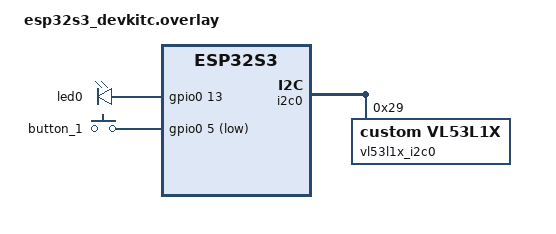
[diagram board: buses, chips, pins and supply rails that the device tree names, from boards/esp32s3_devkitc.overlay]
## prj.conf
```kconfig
CONFIG_I2C=y
CONFIG_I2C_ESP32=y
CONFIG_I2C_INIT_PRIORITY=50
CONFIG_GPIO=y
CONFIG_CUSTOM_VL53L1X=y
# CONFIG_CUSTOM_VL53L1X_INTERRUPT_MODE is not set
# CONFIG_CUSTOM_VL53L1X_XSHUT is not set
CONFIG_LOG=y
CONFIG_LOG_DEFAULT_LEVEL=3
```

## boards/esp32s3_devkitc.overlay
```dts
/ {
    aliases {
        my-led = &led0;
        distance-sensor = &vl53l1x_i2c0;
        trigger-button = &button_1;
    };

    leds {
        compatible = "gpio-leds";
        led0: d13 {
            gpios = <&gpio0 13 GPIO_ACTIVE_HIGH>;
        };
    };
    buttons {
        compatible = "gpio-keys";
        
        button_1: d5 {
            gpios = <&gpio0 5 (GPIO_ACTIVE_LOW | GPIO_PULL_UP)>;
        };
    };
};

&pinctrl {
    i2c0_custom_pins: i2c0_custom_pins {
        group1 {
            pinmux = <I2C0_SDA_GPIO15>, <I2C0_SCL_GPIO16>;	// SDA on GPIO15, SCL on GPIO16
            bias-pull-up; 									// Enable pull-up resistors for both pins
            drive-open-drain; 								// Required for I2C
            output-high; 									// Start with lines high (inactive state)
        };
    };
};

&i2c0 {
    pinctrl-0 = <&i2c0_custom_pins>;
    status = "okay";

    vl53l1x_i2c0: vl53l1x@29 {
        compatible = "custom,vl53l1x";
        reg = < 0x29 >;
        status = "okay";
    };
};
```

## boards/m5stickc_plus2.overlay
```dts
/ {
    aliases {
        my-led = &red_led;
        distance-sensor = &vl53l1x_i2c1;
        trigger-button = &user_button_0_A;
    };
};

&pinctrl {
    i2c1_default: i2c1_default {
		group1 {
			pinmux = <I2C1_SDA_GPIO26>,
				 <I2C1_SCL_GPIO0>;
			bias-pull-up;
			drive-open-drain;
			output-high;
		};
	};
};

&i2c1 {
    status = "okay";
	clock-frequency = <I2C_BITRATE_FAST>;
	sda-gpios = <&gpio0 26 GPIO_OPEN_DRAIN>;
	scl-gpios = <&gpio0 0 GPIO_OPEN_DRAIN>;
	pinctrl-0 = <&i2c1_default>;
	scl-timeout-us = <0>;
	pinctrl-names = "default";

    vl53l1x_i2c1: vl53l1x@29 {
        compatible = "custom,vl53l1x";
        reg = < 0x29 >;
        status = "okay";
    };
};
```

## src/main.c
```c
#include <stdio.h>
#include <zephyr/kernel.h>
#include <zephyr/device.h>
#include <zephyr/drivers/sensor.h>
#include <zephyr/drivers/gpio.h>

#define DEBOUNCE_DELAY_MS 50
static const int32_t sleep_time_ms = 1000;

static const struct device *const vl53l1x = DEVICE_DT_GET(DT_ALIAS(distance_sensor));
static const struct gpio_dt_spec btn = GPIO_DT_SPEC_GET(DT_ALIAS(trigger_button), gpios);

static struct gpio_callback btn_cb_data;
static struct k_work_delayable button_work;

// forward declarations
int get_distance(int32_t *distance_mm);

// GPIO ISR
void button_isr(const struct device *dev,
                struct gpio_callback *cb,
                uint32_t pins)
{
    k_work_reschedule(&button_work, K_MSEC(DEBOUNCE_DELAY_MS));
}

void sensor_work_handler(struct k_work *work) {
    int ret;
    int button_state;
    int32_t distance_mm;

    button_state = gpio_pin_get_dt(&btn);
    // only read distance if button is still pressed (after debounce delay)
    if (button_state) {
        ret = get_distance(&distance_mm);
        if (ret < 0) {
            printk("ERROR: could not get distance, error: %d\n", ret);
        } 
        else {
            printk("Distance: %d mm\n", distance_mm);
        }
    }
    
}

int get_distance(int32_t *distance_mm) {
    int ret;
    struct sensor_value distance_reading;

    ret = sensor_sample_fetch(vl53l1x);
    if (ret < 0) {
        printk("ERROR: fetching sample for device: %s, error: %d\n", vl53l1x->name, ret);
        return ret;
    }

    ret = sensor_channel_get(
        vl53l1x, 
        SENSOR_CHAN_DISTANCE,
        &distance_reading
    );
    if (ret < 0) {
        printk("ERROR: getting channel for device: %s, error: %d\n", vl53l1x->name, ret);
        return ret;
    }

    *distance_mm = (distance_reading.val1 * 1000) + (distance_reading.val2 / 1000);
    return 0;
}

int main (void)
{
    int ret;
    // Initialize work item
    k_work_init_delayable(&button_work, sensor_work_handler);

    // initialize sensor
    if (!device_is_ready(vl53l1x)) {
        printk("ERROR: device is not ready: %s\n", vl53l1x->name);
        return 0;
    }

    // initialize button and isr
    if (!gpio_is_ready_dt(&btn)) {
        printk("ERROR: button not ready\r\n");
        return 0;
    }

    // Set the button as input (apply extra flags if needed)
    ret = gpio_pin_configure_dt(&btn, GPIO_INPUT);
    if (ret < 0) {
        printk("ERROR: could not set button as input\r\n");
        return 0;
    }

    // Configure the interrupt
    ret = gpio_pin_interrupt_configure_dt(&btn, GPIO_INT_EDGE_TO_ACTIVE);
    if (ret < 0) {
        printk("ERROR: could not configure button as interrupt source\r\n");
        return 0;
    }

    // Connect callback function (ISR) to interrupt source
    gpio_init_callback(&btn_cb_data, button_isr, BIT(btn.pin));
    gpio_add_callback(btn.port, &btn_cb_data);

    while (1) {
        // before ISR:
        // int32_t distance;
        // ret = getDistance(&distance);
        // k_msleep(sleep_time_ms);

        // after ISR:
        k_sleep(K_FOREVER);
    }

    return 0;
}
```
